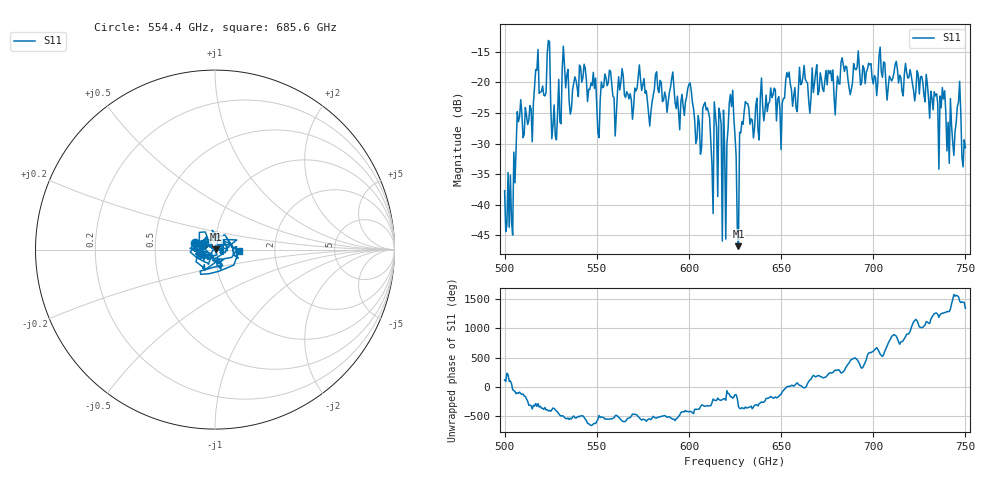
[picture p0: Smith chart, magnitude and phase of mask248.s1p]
!Created with skrf (http://scikit-rf.org).
# GHz S MA R 50.0
!freq magS11 angS11
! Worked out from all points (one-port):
!   401 points, 500 GHz to 750 GHz, reference 50 ohm
!   lowest |S11| = -46.8 dB at 626.9 GHz (marker M1), VSWR 1.01, Z = 50.4 + j0.153 ohm
!   |S11| at or under -10 dB: start of sweep to end of sweep
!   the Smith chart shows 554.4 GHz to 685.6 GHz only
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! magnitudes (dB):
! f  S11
! 500 GHz  -37.7
! 503.8 GHz  -42.7
! 508.1 GHz  -25.6
! 513.8 GHz  -23.8
! 516.9 GHz  -17.9
! 523.8 GHz  -13.1
! 526.9 GHz  -23.7
! 531.2 GHz  -17.8
! 542.5 GHz  -19.2
! 551.2 GHz  -29.0
! 562.5 GHz  -21.2
! 593.8 GHz  -22.3
! 600.6 GHz  -20.1
! 605.6 GHz  -26.7
! 609.4 GHz  -24.5
! 611.9 GHz  -29.7
! 619.4 GHz  -30.7
! 623.1 GHz  -24.0
! 625 GHz  -28.7
! 626.9 GHz  -46.8
! 631.2 GHz  -23.4
! 656.2 GHz  -23.9
! 687.5 GHz  -22.0
! 718.8 GHz  -19.3
! 737.5 GHz  -20.8
! 742.5 GHz  -27.0
! 746.2 GHz  -23.3
! 750 GHz  -30.7
